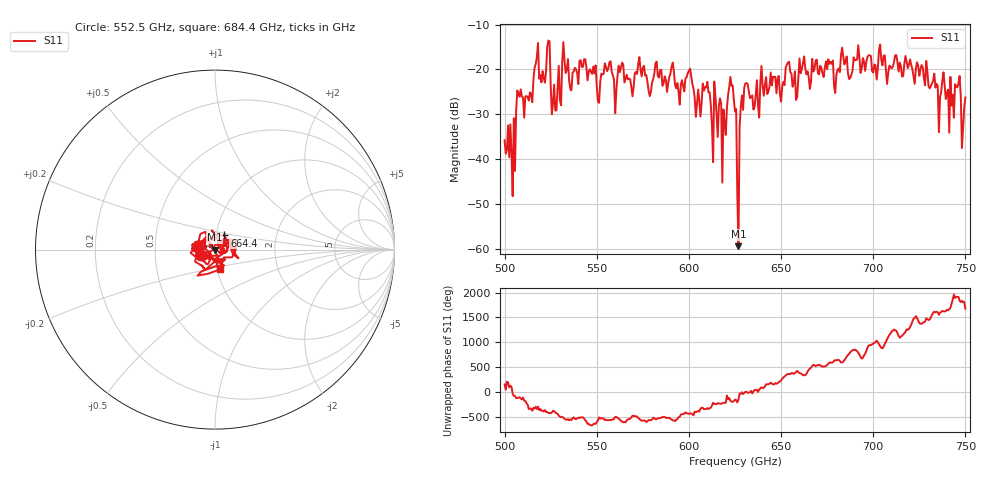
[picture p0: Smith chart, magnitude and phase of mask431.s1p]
!Created with skrf (http://scikit-rf.org).
# GHz S MA R 50.0
!freq magS11 angS11
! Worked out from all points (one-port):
!   401 points, 500 GHz to 750 GHz, reference 50 ohm
!   lowest |S11| = -59.4 dB at 626.9 GHz (marker M1), VSWR 1.00, Z = 49.9 - j0.0626 ohm
!   |S11| at or under -10 dB: start of sweep to end of sweep
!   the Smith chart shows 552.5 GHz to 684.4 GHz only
!   S11 on the Smith chart (normalised r, x): 552.5 GHz: 0.85, -0.06; 664.4 GHz: 1.10, +0.18; 684.4 GHz: 1.03, -0.23
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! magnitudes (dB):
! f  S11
! 500 GHz  -35.8
! 505 GHz  -30.9
! 507.5 GHz  -25.3
! 513.8 GHz  -25.1
! 516.9 GHz  -18.8
! 520.6 GHz  -20.4
! 523.8 GHz  -13.6
! 526.9 GHz  -23.4
! 531.2 GHz  -18.4
! 552.5 GHz  -20.9
! 562.5 GHz  -20.6
! 593.8 GHz  -23.0
! 600 GHz  -20.4
! 605 GHz  -24.5
! 608.8 GHz  -23.9
! 619.4 GHz  -32.1
! 622.5 GHz  -21.7
! 625 GHz  -29.4
! 625.6 GHz  -28.8
! 626.9 GHz  -59.4
! 628.8 GHz  -25.8
! 631.2 GHz  -23.0
! 656.2 GHz  -23.9
! 664.4 GHz  -20.4
! 684.4 GHz  -18.9
! 687.5 GHz  -22.0
! 718.8 GHz  -19.7
! 750 GHz  -26.2
